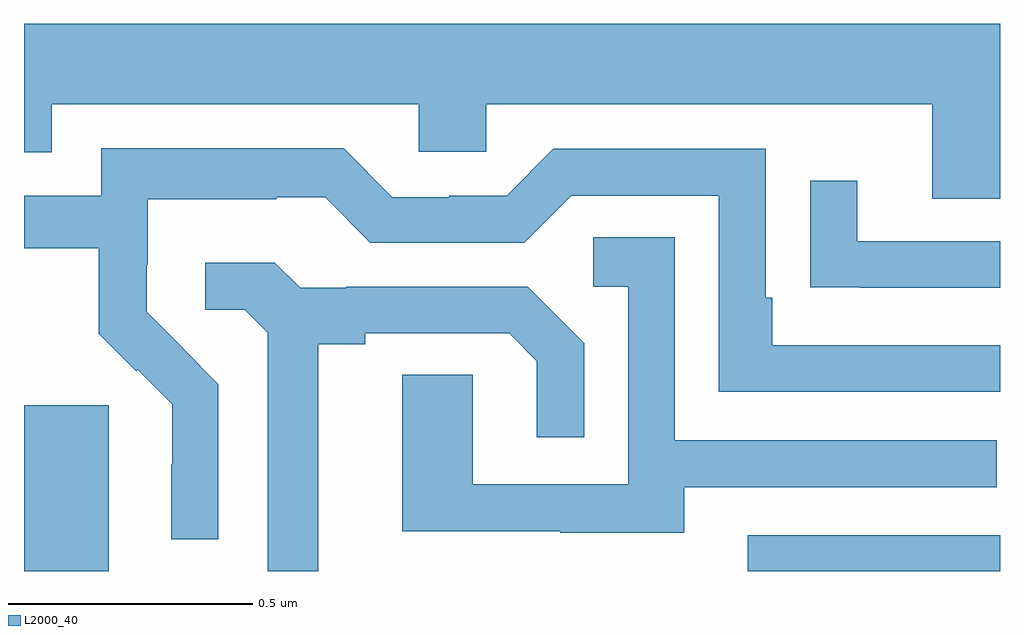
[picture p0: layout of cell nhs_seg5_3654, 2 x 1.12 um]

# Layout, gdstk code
import gdstk
lib = gdstk.Library(unit=1e-6, precision=1e-09)
def R(c, l, rs):  # rectangles x0, y0, x1, y1
    for r in rs: c.add(gdstk.rectangle(r[:2], r[2:], *l))
def P(c, l, *ps):  # polygons
    for p in ps: c.add(gdstk.Polygon(p, *l))
L2000_40 = (2000, 40)

nhs_seg5_3654 = lib.new_cell('nhs_seg5_3654')
R(nhs_seg5_3654, L2000_40, [(160,859.799,160.174,860.139), (161.483,859.799,162,859.872)])
P(nhs_seg5_3654, L2000_40, [(162,860.92),(160,860.92),(160,860.657),(160.057,860.657),(160.057,860.756),(160.809,860.756),(160.809,860.658),(160.947,860.658),(160.947,860.756),(161.861,860.756),(161.861,860.562),(162,860.562)],
  [(160.398,860.182),(160.325,860.255),(160.326,860.256),(160.252,860.33),(160.252,860.427),(160.254,860.427),(160.254,860.561),(160.517,860.561),(160.517,860.565),(160.617,860.565),(160.71,860.472),(161.025,860.472),(161.121,860.568),(161.424,860.568),(161.424,860.166),(162,860.166),(162,860.262),(161.533,860.262),(161.533,860.359),(161.52,860.359),(161.52,860.664),(161.085,860.664),(160.989,860.568),(160.871,860.568),(160.871,860.565),(160.755,860.565),(160.655,860.665),(160.158,860.665),(160.158,860.568),(160,860.568),(160,860.46),(160.153,860.46),(160.153,860.285),(160.23,860.208),(160.233,860.211),(160.304,860.141),(160.304,860.018),(160.302,860.018),(160.302,859.864),(160.398,859.864)],
  [(162,860.475),(161.707,860.475),(161.707,860.599),(161.611,860.599),(161.611,860.38),(161.713,860.38),(161.713,860.379),(162,860.379)],
  [(161.353,859.971),(161.993,859.971),(161.993,860.067),(161.334,860.067),(161.334,860.483),(161.166,860.483),(161.166,860.382),(161.238,860.382),(161.238,859.977),(160.92,859.977),(160.92,860.201),(160.775,860.201),(160.775,859.881),(161.099,859.881),(161.099,859.877),(161.353,859.877)],
  [(160.603,860.264),(160.699,860.264),(160.699,860.286),(160.994,860.286),(161.051,860.229),(161.051,860.073),(161.148,860.073),(161.148,860.266),(161.032,860.382),(160.66,860.382),(160.66,860.379),(160.566,860.379),(160.514,860.431),(160.371,860.431),(160.371,860.334),(160.452,860.334),(160.499,860.287),(160.499,859.799),(160.603,859.799)])

lib.write_gds('nhs_seg5_3654.gds')
